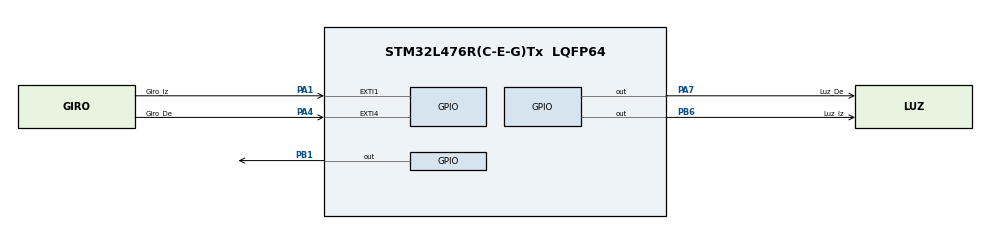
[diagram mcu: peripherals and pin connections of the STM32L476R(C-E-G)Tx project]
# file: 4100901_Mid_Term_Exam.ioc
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Mcu.Family=STM32L4
Mcu.Name=STM32L476R(C-E-G)Tx
Mcu.Package=LQFP64
NVIC.EXTI1_IRQn=true\:0\:0\:false\:false\:true\:true\:true\:true
NVIC.EXTI4_IRQn=true\:0\:0\:false\:false\:true\:true\:true\:true
NVIC.PriorityGroup=NVIC_PRIORITYGROUP_4
PA1.GPIO_Label=Giro_Iz
PA1.GPIO_ModeDefaultEXTI=GPIO_MODE_IT_RISING
PA1.Signal=GPXTI1
PA2.Signal=USART2_TX
PA3.Signal=USART2_RX
PA4.GPIO_Label=Giro_De
PA4.Signal=GPXTI4
PA7.GPIO_Label=Luz_De
PA7.Signal=GPIO_Output
PB1.Signal=GPIO_Output
PB6.GPIO_Label=Luz_Iz
PB6.Signal=GPIO_Output
ProjectManager.HeapSize=0x200
ProjectManager.StackSize=0x400
ProjectManager.TargetToolchain=STM32CubeIDE
RCC.HSE_VALUE=8000000
RCC.HSI_VALUE=16000000
RCC.LSE_VALUE=32768
RCC.MSI_VALUE=4000000
RCC.VCOOutputFreq_Value=32000000
board=custom

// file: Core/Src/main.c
/* USER CODE BEGIN Header */
/**
  ******************************************************************************
  * @file           : main.c
  * @brief          : Main program body
  ******************************************************************************
  * @attention
  *
  * Copyright (c) 2024 STMicroelectronics.
  * All rights reserved.
  *
  * This software is licensed under terms that can be found in the LICENSE file
  * in the root directory of this software component.
  * If no LICENSE file comes with this software, it is provided AS-IS.
  *
  ******************************************************************************
  */
/* USER CODE END Header */
#include "main.h"

/* USER CODE BEGIN PV */
uint8_t Iz_pressed = 0;// Variable para rastrear si el botón izquierdo fue presionado
uint8_t De_pressed = 0;// Variable para rastrear si el botón derecho fue presionado
uint32_t last_Iz_press = 0;  // Tiempo de la última presión del botón izquierdo
uint32_t last_De_press = 0;  // Tiempo de la última presión del botón derecho
uint8_t Iz_blink = 0;  // Flag para indicar si el LED izquierdo debe parpadear
uint8_t De_blink = 0;  // Flag para indicar si el LED derecho debe parpadear
/* USER CODE END PV */

void SystemClock_Config(void);
static void MX_GPIO_Init(void);

/* USER CODE BEGIN 0 */
void HAL_GPIO_EXTI_Callback(uint16_t GPIO_Pin)
{
    uint32_t current_time = HAL_GetTick();  // Obtiene el tiempo actual en milisegundos

    if(GPIO_Pin == Giro_Iz_Pin){  // Si se presionó el botón izquierdo
        if(current_time - last_Iz_press < 500){  // Si han pasado menos de 500ms desde la última presión
            Iz_pressed++;  // Incrementa el contador de presiones
            if(Iz_pressed >= 2){  // Si se ha presionado 2 o más veces
                Iz_blink = 1;  // Activa el parpadeo del LED izquierdo
                De_blink = 0;  // Desactiva el parpadeo del LED derecho
            }
        } else {
            Iz_pressed = 1;  // Reinicia el contador si han pasado más de 500ms
        }
        last_Iz_press = current_time;  // Actualiza el tiempo de la última presión

        // Si el LED derecho está encendido, lo apaga
        if(HAL_GPIO_ReadPin(Luz_De_GPIO_Port, Luz_De_Pin) == GPIO_PIN_SET){
            HAL_GPIO_WritePin(Luz_De_GPIO_Port, Luz_De_Pin, GPIO_PIN_RESET);
            De_blink = 0;
        }
    }

    if(GPIO_Pin == Giro_De_Pin){  // Si se presionó el botón derecho
        // El código es similar al del botón izquierdo, pero para el lado derecho
        if(current_time - last_De_press < 500){
        	De_pressed++;
            if(De_pressed >= 2){
            	De_blink = 1;
                Iz_blink = 0;
            }
        } else {
        	De_pressed = 1;
        }
        last_De_press = current_time;

        if(HAL_GPIO_ReadPin(Luz_Iz_GPIO_Port, Luz_Iz_Pin) == GPIO_PIN_SET){
            HAL_GPIO_WritePin(Luz_Iz_GPIO_Port, Luz_Iz_Pin, GPIO_PIN_RESET);
            Iz_blink = 0;
        }
    }
}
/* USER CODE END 0 */

int main(void)
{
  /* USER CODE BEGIN 1 */
	 HAL_Init();  // Inicializa la capa HAL (Hardware Abstraction Layer)
	  SystemClock_Config();  // Configura el reloj del sistema
	  MX_GPIO_Init();  // Inicializa los pines GPIO

  /* USER CODE END 1 */

  /* MCU Configuration--------------------------------------------------------*/

  /* Reset of all peripherals, Initializes the Flash interface and the Systick. */
  HAL_Init();

  /* Configure the system clock */
  SystemClock_Config();

  /* Initialize all configured peripherals */
  MX_GPIO_Init();

  /* Infinite loop */
  while (1)
  {

    /* USER CODE BEGIN 3 */
	  if (Iz_blink) {  // Si el LED izquierdo debe parpadear
	  	        HAL_GPIO_TogglePin(Luz_Iz_GPIO_Port, Luz_Iz_Pin);  // Cambia el estado del LED izquierdo
	  	        HAL_Delay(500);  // Espera 500ms
	  	    }

	  	    if (De_blink) {  // Si el LED derecho debe parpadear
	  	        HAL_GPIO_TogglePin(Luz_De_GPIO_Port, Luz_De_Pin);  // Cambia el estado del LED derecho
	  	        HAL_Delay(500);  // Espera 500ms
	  	    }
  /* USER CODE END 3 */
}

void SystemClock_Config(void)
{
  RCC_OscInitTypeDef RCC_OscInitStruct = {0};
  RCC_ClkInitTypeDef RCC_ClkInitStruct = {0};

  /** Configure the main internal regulator output voltage
  */
  if (HAL_PWREx_ControlVoltageScaling(PWR_REGULATOR_VOLTAGE_SCALE1) != HAL_OK)
  {
    Error_Handler();
  }

  /** Initializes the RCC Oscillators according to the specified parameters
  * in the RCC_OscInitTypeDef structure.
  */
  RCC_OscInitStruct.OscillatorType = RCC_OSCILLATORTYPE_MSI;
  RCC_OscInitStruct.MSIState = RCC_MSI_ON;
  RCC_OscInitStruct.MSICalibrationValue = 0;
  RCC_OscInitStruct.MSIClockRange = RCC_MSIRANGE_6;
  RCC_OscInitStruct.PLL.PLLState = RCC_PLL_NONE;
  if (HAL_RCC_OscConfig(&RCC_OscInitStruct) != HAL_OK)
  {
    Error_Handler();
  }

  /** Initializes the CPU, AHB and APB buses clocks
  */
  RCC_ClkInitStruct.ClockType = RCC_CLOCKTYPE_HCLK|RCC_CLOCKTYPE_SYSCLK
                              |RCC_CLOCKTYPE_PCLK1|RCC_CLOCKTYPE_PCLK2;
  RCC_ClkInitStruct.SYSCLKSource = RCC_SYSCLKSOURCE_MSI;
  RCC_ClkInitStruct.AHBCLKDivider = RCC_SYSCLK_DIV1;
  RCC_ClkInitStruct.APB1CLKDivider = RCC_HCLK_DIV1;
  RCC_ClkInitStruct.APB2CLKDivider = RCC_HCLK_DIV1;

  if (HAL_RCC_ClockConfig(&RCC_ClkInitStruct, FLASH_LATENCY_0) != HAL_OK)
  {
    Error_Handler();
  }
}

static void MX_GPIO_Init(void)
{
  GPIO_InitTypeDef GPIO_InitStruct = {0};

  /* GPIO Ports Clock Enable */
  __HAL_RCC_GPIOA_CLK_ENABLE();
  __HAL_RCC_GPIOB_CLK_ENABLE();

  /*Configure GPIO pin Output Level */
  HAL_GPIO_WritePin(Luz_De_GPIO_Port, Luz_De_Pin, GPIO_PIN_RESET);

  /*Configure GPIO pin Output Level */
  HAL_GPIO_WritePin(GPIOB, GPIO_PIN_1|Luz_Iz_Pin, GPIO_PIN_RESET);

  /*Configure GPIO pins : Giro_Iz_Pin Giro_De_Pin */
  GPIO_InitStruct.Pin = Giro_Iz_Pin|Giro_De_Pin;
  GPIO_InitStruct.Mode = GPIO_MODE_IT_RISING;
  GPIO_InitStruct.Pull = GPIO_NOPULL;
  HAL_GPIO_Init(GPIOA, &GPIO_InitStruct);

  /*Configure GPIO pins : PA2 PA3 */
  GPIO_InitStruct.Pin = GPIO_PIN_2|GPIO_PIN_3;
  GPIO_InitStruct.Mode = GPIO_MODE_AF_PP;
  GPIO_InitStruct.Pull = GPIO_NOPULL;
  GPIO_InitStruct.Speed = GPIO_SPEED_FREQ_VERY_HIGH;
  GPIO_InitStruct.Alternate = GPIO_AF7_USART2;
  HAL_GPIO_Init(GPIOA, &GPIO_InitStruct);

  /*Configure GPIO pin : Luz_De_Pin */
  GPIO_InitStruct.Pin = Luz_De_Pin;
  GPIO_InitStruct.Mode = GPIO_MODE_OUTPUT_PP;
  GPIO_InitStruct.Pull = GPIO_NOPULL;
  GPIO_InitStruct.Speed = GPIO_SPEED_FREQ_LOW;
  HAL_GPIO_Init(Luz_De_GPIO_Port, &GPIO_InitStruct);

  /*Configure GPIO pins : PB1 Luz_Iz_Pin */
  GPIO_InitStruct.Pin = GPIO_PIN_1|Luz_Iz_Pin;
  GPIO_InitStruct.Mode = GPIO_MODE_OUTPUT_PP;
  GPIO_InitStruct.Pull = GPIO_NOPULL;
  GPIO_InitStruct.Speed = GPIO_SPEED_FREQ_LOW;
  HAL_GPIO_Init(GPIOB, &GPIO_InitStruct);

  /* EXTI interrupt init*/
  HAL_NVIC_SetPriority(EXTI1_IRQn, 0, 0);
  HAL_NVIC_EnableIRQ(EXTI1_IRQn);

  HAL_NVIC_SetPriority(EXTI4_IRQn, 0, 0);
  HAL_NVIC_EnableIRQ(EXTI4_IRQn);

}

void Error_Handler(void)
{
  __disable_irq();
}
